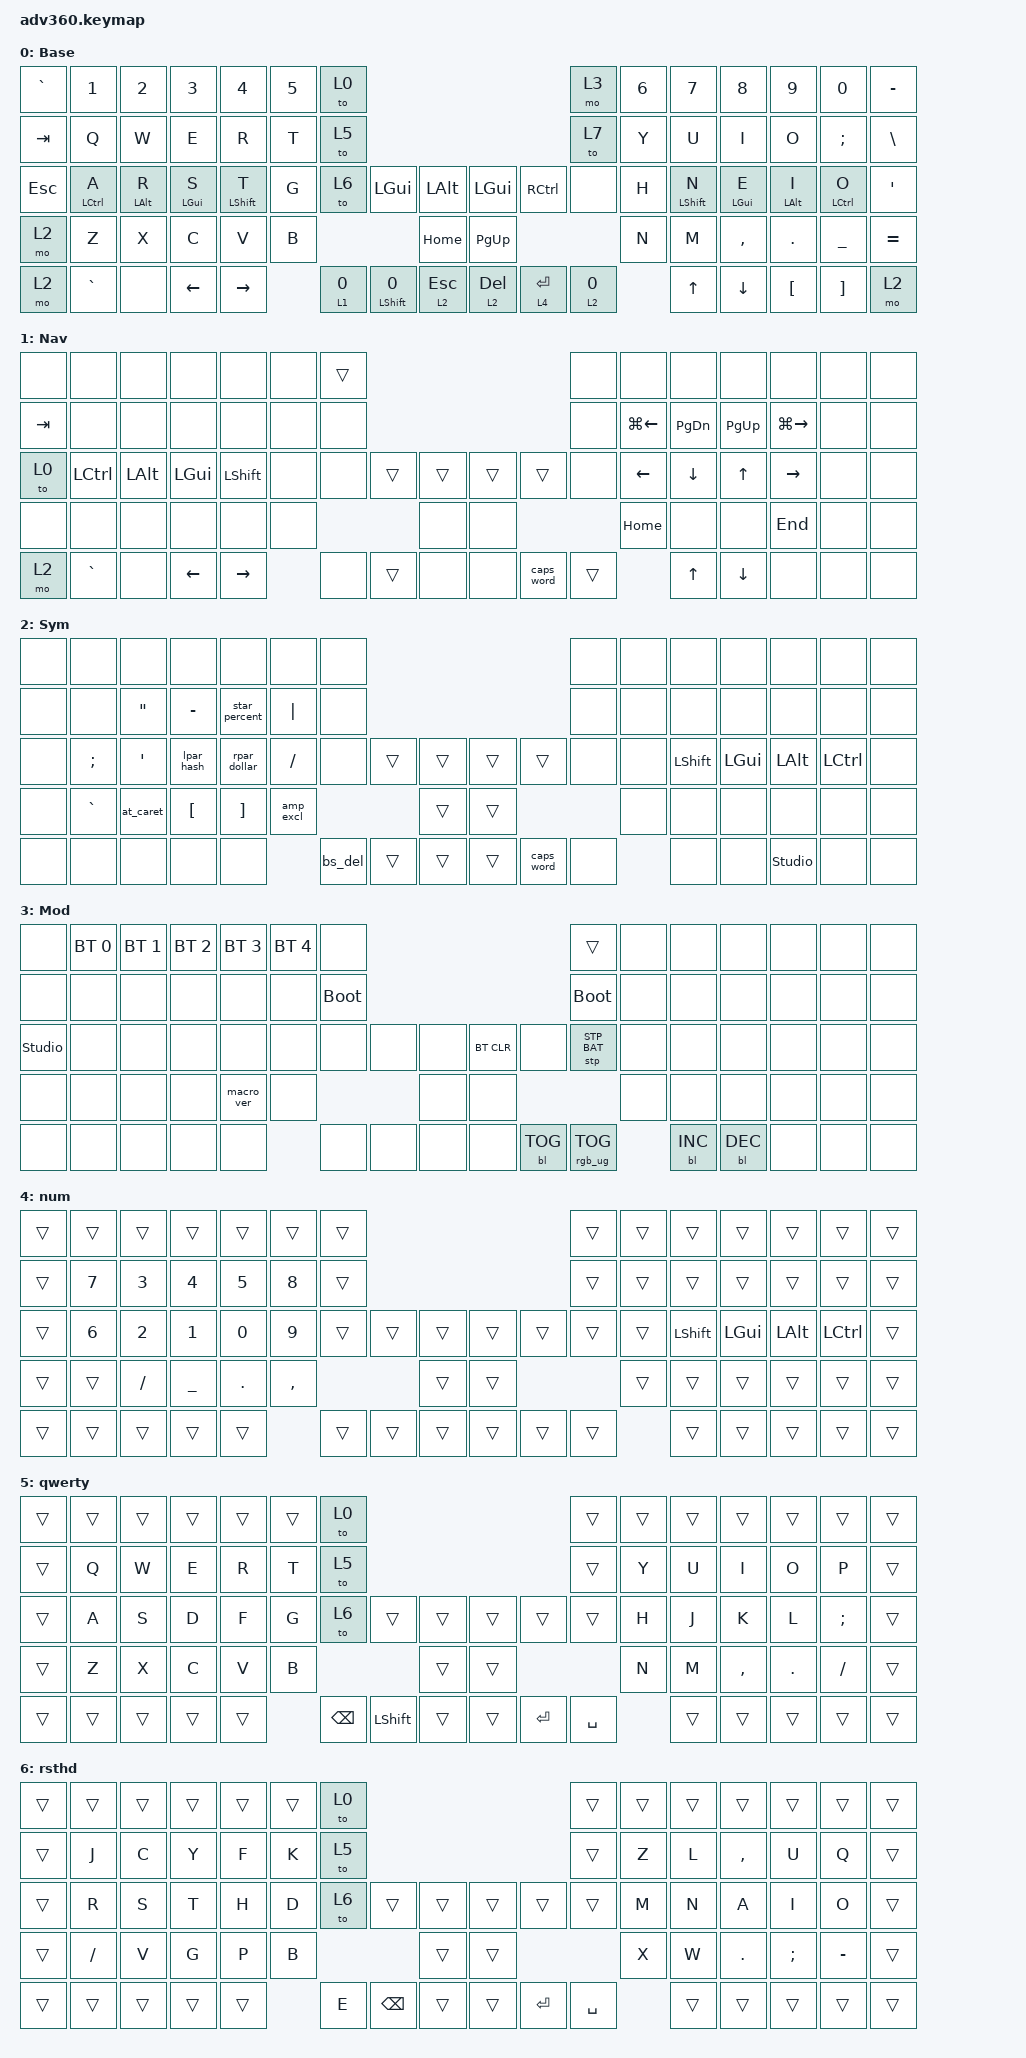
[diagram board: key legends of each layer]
#include <dt-bindings/zmk/stp.h>
#include <behaviors.dtsi>
#include <dt-bindings/zmk/backlight.h>
#include <dt-bindings/zmk/bt.h>
#include <dt-bindings/zmk/keys.h>
#include <dt-bindings/zmk/rgb.h>

/ {
    behaviors {
        #include "macros.dtsi"
      #include "version.dtsi"
      #include "behaviors.dtsi"

        question_slash: question_slash {
            compatible = "zmk,behavior-mod-morph";
            label = "QUESTION_SLASH";
            bindings = <&kp QUESTION>, <&kp SLASH>;

            #binding-cells = <0>;
            mods = <(MOD_LSFT)>;
        };
    };

    combos {
        compatible = "zmk,combos";

        jg_z {
            bindings = <&kp Z>;
            key-positions = <15 16>;
            layers = <7>;
        };

        gp_q {
            bindings = <&kp Q>;
            key-positions = <16 18>;
            layers = <7>;
        };

        dn_th {
            bindings = <&cmb_th>;
            key-positions = <31 32>;
            layers = <7>;
        };

        cl_ch {
            bindings = <&cmb_ch>;
            key-positions = <50 49>;
            layers = <7>;
        };

        sn_sh {
            bindings = <&cmb_sh>;
            key-positions = <30 31>;
            layers = <7>;
        };

        hi_wh {
            bindings = <&cmb_wh>;
            key-positions = <44 43>;
            layers = <7>;
        };

        gm_gh {
            bindings = <&cmb_gh>;
            key-positions = <16 17>;
            layers = <7>;
        };

        pm_ph {
            bindings = <&cmb_ph>;
            key-positions = <18 17>;
            layers = <7>;
        };
    };

    macros {
        cmb_th: cmb_th {
            compatible = "zmk,behavior-macro";
            #binding-cells = <0>;
            bindings = <&kp T &kp H>;
            label = "CMB_TH";
        };

        cmb_ch: cmb_ch {
            compatible = "zmk,behavior-macro";
            #binding-cells = <0>;
            bindings = <&kp C &kp H>;
            label = "CMB_CH";
        };

        cmb_sh: cmb_sh {
            compatible = "zmk,behavior-macro";
            #binding-cells = <0>;
            bindings = <&kp S &kp H>;
            label = "CMB_SH";
        };

        cmb_wh: cmb_wh {
            compatible = "zmk,behavior-macro";
            #binding-cells = <0>;
            bindings = <&kp W &kp H>;
            label = "CMB_WH";
        };

        cmb_gh: cmb_gh {
            compatible = "zmk,behavior-macro";
            #binding-cells = <0>;
            bindings = <&kp G &kp H>;
            label = "CMB_GH";
        };

        cmb_ph: cmb_ph {
            compatible = "zmk,behavior-macro";
            #binding-cells = <0>;
            bindings = <&kp P &kp H>;
            label = "CMB_PH";
        };
    };

    keymap {
        compatible = "zmk,keymap";

        base {
            display-name = "Base";
            bindings = <
&kp GRAVE  &kp N1                &kp N2            &kp N3            &kp N4              &kp N5  &to 0                                                                             &mo 3         &kp N6  &kp N7              &kp N8        &kp N9            &kp N0                &kp MINUS
&kp TAB    &kp Q                 &kp W             &kp E             &kp R               &kp T   &to 5                                                                             &to 7         &kp Y   &kp U               &kp I         &kp O             &kp SEMICOLON         &kp BSLH
&kp ESC    &hm_l LEFT_CONTROL A  &hm_l LEFT_ALT R  &hm_l LEFT_GUI S  &hm_l LEFT_SHIFT T  &kp G   &to 6         &kp LEFT_GUI           &kp LALT          &kp LGUI      &kp RCTRL    &none         &kp H   &hm_r LEFT_SHIFT N  &hm_r LGUI E  &hm_r LEFT_ALT I  &hm_r LEFT_CONTROL O  &kp SQT
&mo 2      &kp Z                 &kp X             &kp C             &kp V               &kp B                                        &kp HOME          &kp PG_UP                                &kp N   &kp M               &kp COMMA     &kp DOT           &kp UNDER             &kp EQUAL
&mo 2      &kp GRAVE             &none             &kp LEFT          &kp RIGHT                   &lt_bspc 1 0  &ht_sptb LEFT_SHIFT 0  &lt 2 ESCAPE      &lt 2 DELETE  &lt 4 ENTER  &lt_sptb 2 0          &kp UP              &kp DOWN      &kp LBKT          &kp RBKT              &mo 2
            >;
        };

        nav {
            display-name = "Nav";
            bindings = <
&none    &none             &none         &none         &none           &none  &trans                                          &none   &none         &none          &none        &none          &none  &none
&kp TAB  &none             &none         &none         &none           &none  &none                                           &none   &kp LG(LEFT)  &kp PAGE_DOWN  &kp PAGE_UP  &kp LG(RIGHT)  &none  &none
&to 0    &kp LEFT_CONTROL  &kp LEFT_ALT  &kp LEFT_GUI  &kp LEFT_SHIFT  &none  &none   &trans  &trans      &trans  &trans      &none   &kp LEFT      &kp DOWN       &kp UP       &kp RIGHT      &none  &none
&none    &none             &none         &none         &none           &none                  &none       &none                       &kp HOME      &none          &none        &kp END        &none  &none
&mo 2    &kp GRAVE         &none         &kp LEFT      &kp RIGHT              &none   &trans  &none       &none   &caps_word  &trans                &kp UP         &kp DOWN     &none          &none  &none
            >;
        };

        sym {
            display-name = "Sym";
            bindings = <
&none  &none          &none              &none             &none              &none      &none                                            &none  &none  &none           &none         &none           &none             &none
&none  &none          &kp DOUBLE_QUOTES  &kp MINUS         &star_percent      &kp PIPE   &none                                            &none  &none  &none           &none         &none           &none             &none
&none  &kp SEMICOLON  &kp SQT            &lpar_hash        &rpar_dollar       &kp SLASH  &none    &trans  &trans      &trans  &trans      &none  &none  &kp LEFT_SHIFT  &kp LEFT_GUI  &kp LEFT_ALT    &kp LEFT_CONTROL  &none
&none  &kp GRAVE      &at_caret          &kp LEFT_BRACKET  &kp RIGHT_BRACKET  &amp_excl                   &trans      &trans                     &none  &none           &none         &none           &none             &none
&none  &none          &none              &none             &none                         &bs_del  &trans  &trans      &trans  &caps_word  &none         &none           &none         &studio_unlock  &none             &none
            >;
        };

        mod {
            display-name = "Mod";
            bindings = <
&none           &bt BT_SEL 0  &bt BT_SEL 1  &bt BT_SEL 2  &bt BT_SEL 3  &bt BT_SEL 4  &none                                                  &trans           &none  &none       &none       &none  &none  &none
&none           &none         &none         &none         &none         &none         &bootloader                                            &bootloader      &none  &none       &none       &none  &none  &none
&studio_unlock  &none         &none         &none         &none         &none         &none        &none  &none      &bt BT_CLR  &none       &stp STP_BAT     &none  &none       &none       &none  &none  &none
&none           &none         &none         &none         &macro_ver    &none                             &none      &none                                    &none  &none       &none       &none  &none  &none
&none           &none         &none         &none         &none                       &none        &none  &none      &none       &bl BL_TOG  &rgb_ug RGB_TOG         &bl BL_INC  &bl BL_DEC  &none  &none  &none
            >;
        };

        num {
            bindings = <
&trans  &trans        &trans        &trans          &trans      &trans     &trans                                      &trans  &trans  &trans          &trans        &trans        &trans            &trans
&trans  &kp N7        &kp NUMBER_3  &kp NUMBER_4    &kp N5      &kp N8     &trans                                      &trans  &trans  &trans          &trans        &trans        &trans            &trans
&trans  &kp NUMBER_6  &kp N2        &kp N1          &kp N0      &kp N9     &trans  &trans  &trans      &trans  &trans  &trans  &trans  &kp LEFT_SHIFT  &kp LEFT_GUI  &kp LEFT_ALT  &kp LEFT_CONTROL  &trans
&trans  &trans        &kp SLASH     &kp UNDERSCORE  &kp PERIOD  &kp COMMA                  &trans      &trans                  &trans  &trans          &trans        &trans        &trans            &trans
&trans  &trans        &trans        &trans          &trans                 &trans  &trans  &trans      &trans  &trans  &trans          &trans          &trans        &trans        &trans            &trans
            >;
        };

        qwerty {
            bindings = <
&trans  &trans  &trans  &trans  &trans  &trans  &to 0                                               &trans     &trans  &trans  &trans     &trans   &trans    &trans
&trans  &kp Q   &kp W   &kp E   &kp R   &kp T   &to 5                                               &trans     &kp Y   &kp U   &kp I      &kp O    &kp P     &trans
&trans  &kp A   &kp S   &kp D   &kp F   &kp G   &to 6     &trans     &trans      &trans  &trans     &trans     &kp H   &kp J   &kp K      &kp L    &kp SEMI  &trans
&trans  &kp Z   &kp X   &kp C   &kp V   &kp B                        &trans      &trans                        &kp N   &kp M   &kp COMMA  &kp DOT  &kp FSLH  &trans
&trans  &trans  &trans  &trans  &trans          &kp BSPC  &kp LSHFT  &trans      &trans  &kp ENTER  &kp SPACE          &trans  &trans     &trans   &trans    &trans
            >;
        };

        rsthd {
            bindings = <
&trans  &trans    &trans  &trans  &trans  &trans  &to 0                                           &trans     &trans  &trans  &trans     &trans    &trans     &trans
&trans  &kp J     &kp C   &kp Y   &kp F   &kp K   &to 5                                           &trans     &kp Z   &kp L   &kp COMMA  &kp U     &kp Q      &trans
&trans  &kp R     &kp S   &kp T   &kp H   &kp D   &to 6  &trans    &trans      &trans  &trans     &trans     &kp M   &kp N   &kp A      &kp I     &kp O      &trans
&trans  &kp FSLH  &kp V   &kp G   &kp P   &kp B                    &trans      &trans                        &kp X   &kp W   &kp DOT    &kp SEMI  &kp MINUS  &trans
&trans  &trans    &trans  &trans  &trans          &kp E  &kp BSPC  &trans      &trans  &kp ENTER  &kp SPACE          &trans  &trans     &trans    &trans     &trans
            >;
        };
    };
};
